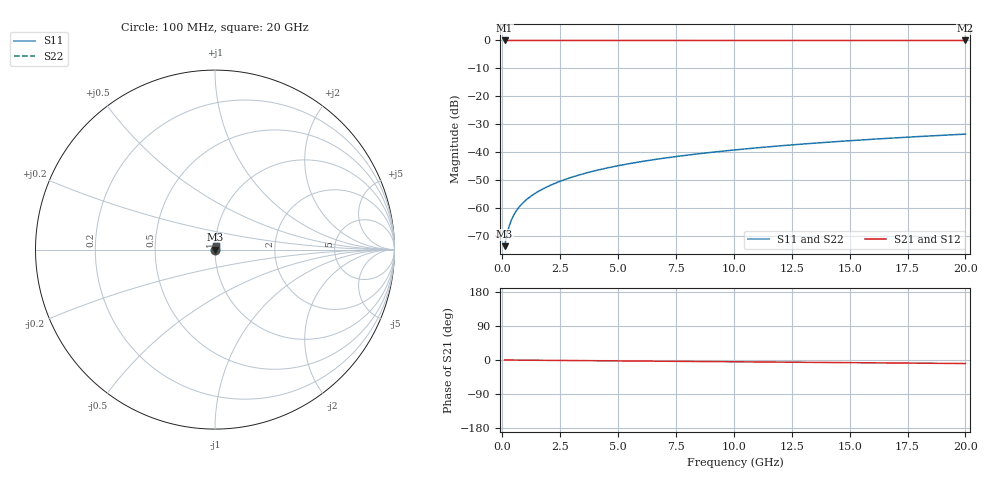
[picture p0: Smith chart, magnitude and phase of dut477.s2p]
! Touchstone file exported from HFSS 2026.1.0
!  File:  C:/ffzhzh/LocalFiles/Ansys_Project_Files/temp_train_TSV_477_1783022465_46388.aedt
!  Generated:  04:02:53 AM Jul  3, 2026
!  Design:  TSV
!  Project:  temp_train_TSV_477_1783022465_46388
! Variables:
!  h_bsmrdl = 2um
!  h_ox = 20um
!  h_rdl = 5um
!  h_sub = 92.74um
!  h_tmrdl = 5um
!  h_tsv = 92.74um
!  h_via = 3um
!  l_bsmrdl = 300um
!  l_sub = 420.34um
!  l_tmrdl = 200um
!  m_sub = 200um
!  pitch = 47.84um
!  r_tsv = 10.17um
!  s_tmrdl = 10um
!  w_bsmrdl = 18um
!  w_sub = 500um
!  w_tmrdl = 12um
!  x_tsv_center1 = 206um
!  x_tsv_center2 = 524um
!  x_tsv_center3 = 736um
!  x_tsv_center4 = 1054um
!  x_tsv_center5 = 1266um
!  x_tsv_center6 = 1584um
# GHz S MA R 50.000000
! Terminal data exported
! Port[1] = TSV1_1_T1
! Port[2] = TSV1_1_T2
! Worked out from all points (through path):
!   200 points, 100 MHz to 20 GHz, reference 50 ohm
!   highest |S21| = 0.00 dB at 100 MHz (marker M1); lowest = 0.0 dB at 20 GHz (marker M2)
!   group delay of S21, straight-line fit = 1.29 ps
!   lowest |S11| = -73.8 dB at 100 MHz (marker M3), VSWR 1.00, Z = 50 + j0.0152 ohm
!   |S11| at or under -10 dB: start of sweep to end of sweep
!   |S22| runs from -73.8 to -33.6 dB; largest |S21 - S12| = 2e-15
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0.1  0.0002051 47.8  0.9999 -0.0  0.9999 -0.0  0.0002051 47.8
! Gamma 0 0 0 0
! Port Impedance 50 0 50 0
0.2  0.0003367 63.4  0.9998 -0.1  0.9998 -0.1  0.0003367 63.4
0.3  0.0004766 69.0  0.9998 -0.1  0.9998 -0.1  0.0004766 69.0
0.4  0.0006145 71.5  0.9998 -0.2  0.9998 -0.2  0.0006145 71.5
0.5  0.0007479 72.8  0.9998 -0.2  0.9998 -0.2  0.0007479 72.8
0.6  0.0008762 73.6  0.9998 -0.3  0.9998 -0.3  0.0008762 73.6
0.7  0.0009998 74.1  0.9997 -0.3  0.9997 -0.3  0.0009998 74.1
0.8  0.00112 74.5  0.9997 -0.4  0.9997 -0.4  0.00112 74.5
1  0.001351 75.3  0.9997 -0.5  0.9997 -0.5  0.001351 75.3
1.4  0.001795 76.6  0.9996 -0.7  0.9996 -0.7  0.001795 76.6
1.7  0.002122 77.5  0.9996 -0.8  0.9996 -0.8  0.002122 77.5
2  0.002449 78.2  0.9995 -0.9  0.9995 -0.9  0.002449 78.2
2.7  0.003209 79.3  0.9995 -1.3  0.9995 -1.3  0.003209 79.3
3.5  0.004074 80.0  0.9994 -1.6  0.9994 -1.6  0.004074 80.0
4.2  0.004825 80.3  0.9993 -2.0  0.9993 -2.0  0.004825 80.3
5  0.005676 80.5  0.9993 -2.3  0.9993 -2.3  0.005676 80.5
6.8  0.007564 80.5  0.9991 -3.2  0.9991 -3.2  0.007564 80.5
8.3  0.009118 80.4  0.999 -3.9  0.999 -3.9  0.009119 80.4
10.1  0.01097 80.0  0.9989 -4.7  0.9989 -4.7  0.01097 80.0
13.4  0.01433 79.1  0.9987 -6.2  0.9987 -6.2  0.01433 79.1
16.7  0.01765 78.0  0.9986 -7.8  0.9986 -7.8  0.01765 78.0
20  0.02093 76.8  0.9984 -9.3  0.9984 -9.3  0.02093 76.8
